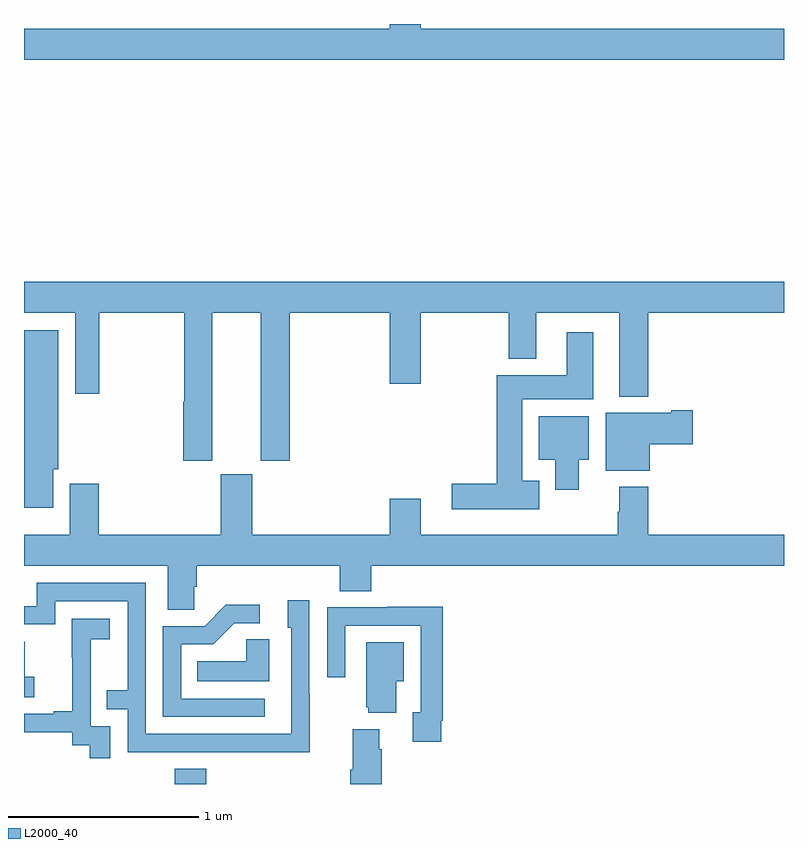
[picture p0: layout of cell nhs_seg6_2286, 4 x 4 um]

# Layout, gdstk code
import gdstk
lib = gdstk.Library(unit=1e-6, precision=1e-09)
def R(c, l, rs):  # rectangles x0, y0, x1, y1
    for r in rs: c.add(gdstk.rectangle(r[:2], r[2:], *l))
def P(c, l, *ps):  # polygons
    for p in ps: c.add(gdstk.Polygon(p, *l))
L2000_40 = (2000, 40)

nhs_seg6_2286 = lib.new_cell('nhs_seg6_2286')
R(nhs_seg6_2286, L2000_40, [(247.793,967.5,247.958,967.579)])
P(nhs_seg6_2286, L2000_40, [(251,971.476),(249.088,971.476),(249.088,971.5),(248.924,971.5),(248.924,971.476),(247,971.476),(247,971.312),(251,971.312)],
  [(247.99,969.98),(248.246,969.98),(248.246,969.201),(248.399,969.201),(248.399,969.98),(248.924,969.98),(248.924,969.606),(249.088,969.606),(249.088,969.98),(249.55,969.98),(249.55,969.737),(249.697,969.737),(249.697,969.98),(250.133,969.98),(250.133,969.539),(250.286,969.539),(250.286,969.98),(251,969.98),(251,970.144),(247,970.144),(247,969.98),(247.271,969.98),(247.271,969.555),(247.395,969.555),(247.395,969.98),(247.843,969.98),(247.843,969.513),(247.838,969.513),(247.838,969.201),(247.99,969.201)],
  [(247.153,969.156),(247.18,969.156),(247.18,969.889),(247,969.889),(247,968.954),(247.153,968.954)],
  [(249.712,969.097),(249.622,969.097),(249.622,969.524),(249.997,969.524),(249.997,969.877),(249.857,969.877),(249.857,969.652),(249.488,969.652),(249.488,969.08),(249.252,969.08),(249.252,968.945),(249.712,968.945)],
  [(250.294,969.289),(250.519,969.289),(250.519,969.467),(250.406,969.467),(250.406,969.454),(250.061,969.454),(250.061,969.149),(250.294,969.149)],
  [(249.919,969.206),(249.973,969.206),(249.973,969.436),(249.71,969.436),(249.71,969.206),(249.797,969.206),(249.797,969.048),(249.919,969.048)],
  [(247.896,968.539),(247.91,968.539),(247.91,968.648),(248.663,968.648),(248.663,968.515),(248.828,968.515),(248.828,968.648),(251,968.648),(251,968.812),(250.286,968.812),(250.286,969.064),(250.133,969.064),(250.133,968.933),(250.126,968.933),(250.126,968.812),(249.088,968.812),(249.088,969.001),(248.924,969.001),(248.924,968.812),(248.2,968.812),(248.2,969.129),(248.036,969.129),(248.036,968.812),(247.394,968.812),(247.394,969.079),(247.241,969.079),(247.241,968.812),(247,968.812),(247,968.648),(247.757,968.648),(247.757,968.416),(247.896,968.416)],
  [(248.505,967.973),(248.502,967.973),(248.502,968.467),(248.387,968.467),(248.387,968.322),(248.406,968.322),(248.406,967.764),(247.641,967.764),(247.641,968.559),(247.067,968.559),(247.067,968.436),(247,968.436),(247,968.34),(247.164,968.34),(247.164,968.463),(247.545,968.463),(247.545,967.994),(247.435,967.994),(247.435,967.893),(247.545,967.893),(247.545,967.668),(248.041,967.668),(248.041,967.667),(248.505,967.667)],
  [(248.266,967.95),(247.827,967.95),(247.827,968.235),(247.996,968.235),(248.107,968.346),(248.242,968.346),(248.242,968.444),(248.063,968.444),(247.95,968.331),(247.731,968.331),(247.731,967.854),(248.266,967.854)],
  [(249.196,967.834),(249.203,967.834),(249.203,968.432),(248.911,968.432),(248.911,968.43),(248.595,968.43),(248.595,968.061),(248.691,968.061),(248.691,968.334),(249.087,968.334),(249.087,967.878),(249.047,967.878),(249.047,967.722),(249.196,967.722)],
  [(247.455,967.803),(247.35,967.803),(247.35,968.033),(247.352,968.033),(247.352,968.261),(247.45,968.261),(247.45,968.371),(247.252,968.371),(247.252,968.165),(247.253,968.165),(247.253,967.882),(247.157,967.882),(247.157,967.869),(247,967.869),(247,967.773),(247.254,967.773),(247.254,967.705),(247.347,967.705),(247.347,967.635),(247.455,967.635)],
  [(248.29,968.261),(248.169,968.261),(248.169,968.146),(247.912,968.146),(247.912,968.042),(248.29,968.042)],
  [(247.054,968.065),(247.005,968.065),(247.005,968.25),(247,968.25),(247,967.956),(247.054,967.956)],
  [(248.959,968.042),(248.998,968.042),(248.998,968.245),(248.801,968.245),(248.801,967.905),(248.813,967.905),(248.813,967.874),(248.959,967.874)],
  [(248.882,967.682),(248.869,967.682),(248.869,967.789),(248.729,967.789),(248.729,967.576),(248.717,967.576),(248.717,967.5),(248.882,967.5)])

lib.write_gds('nhs_seg6_2286.gds')
